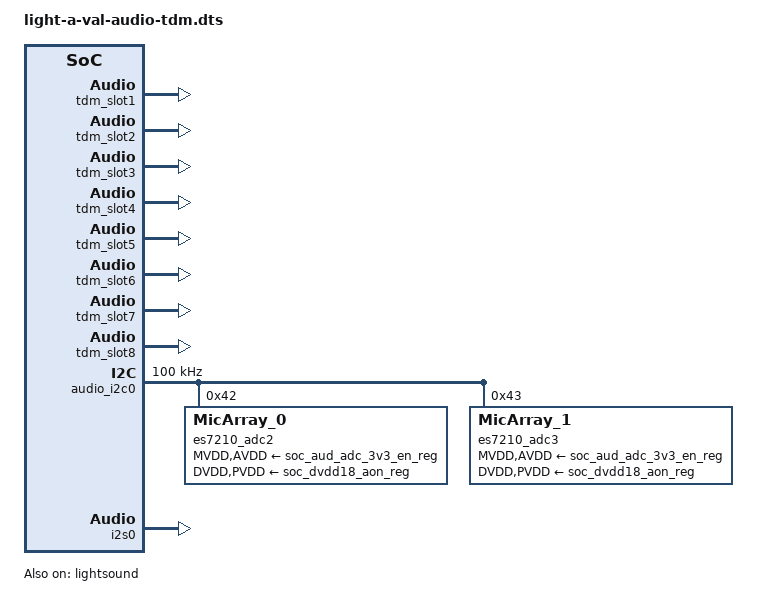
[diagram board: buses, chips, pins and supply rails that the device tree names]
/* SPDX-License-Identifier: GPL-2.0 */
/*
 * Copyright (C) 2021 Alibaba Group Holding Limited.
 */

#include "light-a-val.dts"

&tdm_slot1 {
        pinctrl-names = "default";
        pinctrl-0 = <&pinctrl_audio_tdm>;
	status = "okay";
};

&tdm_slot2 {
	status = "okay";
};

&tdm_slot3 {
	status = "okay";
};

&tdm_slot4 {
	status = "okay";
};

&tdm_slot5 {
	status = "okay";
};

&tdm_slot6 {
	status = "okay";
};

&tdm_slot7 {
	status = "okay";
};

&tdm_slot8 {
	status = "okay";
};

&audio_i2c0 {
        clock-frequency = <100000>;
        status = "okay";

        es7210_adc2: es7210@42 {
                #sound-dai-cells = <0>;
                compatible = "MicArray_0";
                reg = <0x42>;
                work-mode = "ES7210_TDM_1LRCK_DSPB";
                channels-max = <8>;
                sound-name-prefix = "ES7210_ADC2";
                MVDD-supply = <&soc_aud_adc_3v3_en_reg>;
                AVDD-supply = <&soc_aud_adc_3v3_en_reg>;
                DVDD-supply = <&soc_dvdd18_aon_reg>;
                PVDD-supply = <&soc_dvdd18_aon_reg>;
        };

        es7210_adc3: es7210@43 {
                #sound-dai-cells = <0>;
                compatible = "MicArray_1";
                reg = <0x43>;
                work-mode = "ES7210_TDM_1LRCK_DSPB";
                channels-max = <8>;
                sound-name-prefix = "ES7210_ADC3";
                MVDD-supply = <&soc_aud_adc_3v3_en_reg>;
                AVDD-supply = <&soc_aud_adc_3v3_en_reg>;
                DVDD-supply = <&soc_dvdd18_aon_reg>;
                PVDD-supply = <&soc_dvdd18_aon_reg>;
        };
};

&lightsound {
        status = "okay";
        simple-audio-card,widgets = "Speaker", "Speaker";
        simple-audio-card,routing = 
        	"AW87519 IN", "ES8156 ROUT",
        	"Speaker", "AW87519 VO";
        simple-audio-card,aux-devs = <&audio_aw87519_pa>;
        simple-audio-card,dai-link@0 {          /* I2S - AUDIO SYS CODEC 8156*/
                reg = <0>;
                format = "i2s";
                cpu {
                        sound-dai = <&i2s0 0>;
                };
                codec {
                        sound-dai = <&es8156_audio_codec>;
                };
        };

        simple-audio-card,dai-link@1 {          /* TDM - AUDIO SYS CODEC 7210*/
                reg = <1>;
                format = "dsp_b";
                cpu {
                        sound-dai = <&tdm_slot1>;
                };
                codec {
                        sound-dai = <&es7210_adc2>;
                };
        };

        simple-audio-card,dai-link@2 {
                reg = <1>;
                format = "dsp_b";
                cpu {
                        sound-dai = <&tdm_slot2>;
                };
                codec {
                        sound-dai = <&es7210_adc2>;
                };
        };

        simple-audio-card,dai-link@3 {
                reg = <1>;
                format = "dsp_b";
                cpu {
                        sound-dai = <&tdm_slot3>;
                };
                codec {
                        sound-dai = <&es7210_adc2>;
                };
        };

        simple-audio-card,dai-link@4 {
                reg = <1>;
                format = "dsp_b";
                cpu {
                        sound-dai = <&tdm_slot4>;
                };
                codec {
                        sound-dai = <&es7210_adc2>;
                };
        };

        simple-audio-card,dai-link@5 {
                reg = <1>;
                format = "dsp_b";
                cpu {
                        sound-dai = <&tdm_slot5>;
                };
                codec {
                        sound-dai = <&es7210_adc2>;
                };
        };

        simple-audio-card,dai-link@6 {
                reg = <1>;
                format = "dsp_b";
                cpu {
                        sound-dai = <&tdm_slot6>;
                };
                codec {
                        sound-dai = <&es7210_adc2>;
                };
        };

        simple-audio-card,dai-link@7 {
                reg = <1>;
                format = "dsp_b";
                cpu {
                        sound-dai = <&tdm_slot7>;
                };
                codec {
                        sound-dai = <&es7210_adc2>;
                };
        };

        simple-audio-card,dai-link@8 {
                reg = <1>;
                format = "dsp_b";
                cpu {
                        sound-dai = <&tdm_slot8>;
                };
                codec {
                        sound-dai = <&es7210_adc2>;
                };
        };
};

&i2s0 {
        status = "okay";
};
